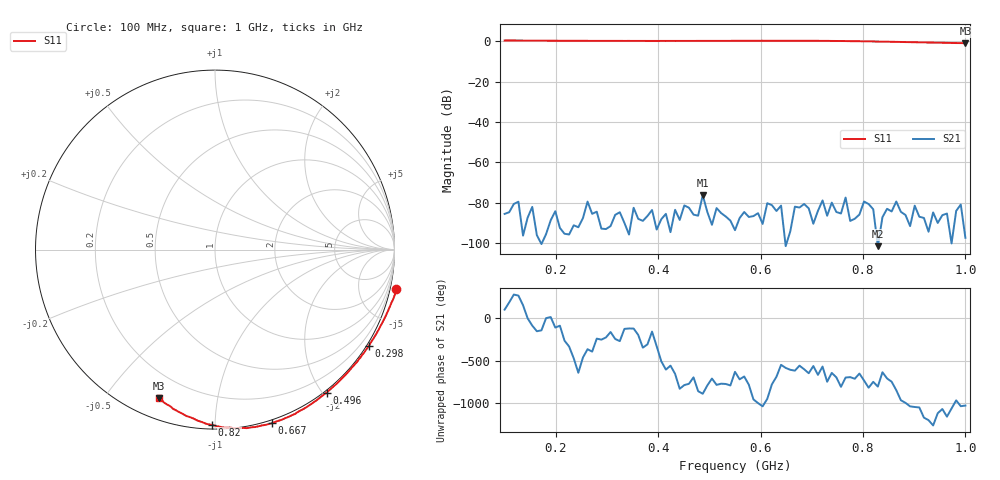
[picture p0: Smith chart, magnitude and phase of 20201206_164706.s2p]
# HZ S RI R 50
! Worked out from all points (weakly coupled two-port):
!   101 points, 100 MHz to 1 GHz, reference 50 ohm
!   highest |S21| = -76.18 dB at 487 MHz (marker M1); lowest = -101.4 dB at 829 MHz (marker M2)
!   lowest |S11| = -1.1 dB at 1 GHz (marker M3), VSWR 16.22, Z = 4.55 - j34.4 ohm
!   |S11| at or under -10 dB: nowhere
!   S12 and S22 are empty: the file has one direction only
!   S11 on the Smith chart (normalised r, x): 100 MHz: -1.34, -9.11; 298 MHz: -0.07, -3.48; 496 MHz: -0.03, -2.05; 667 MHz: -0.03, -1.38; 820 MHz: 0.02, -0.98; 1 GHz: 0.09, -0.69
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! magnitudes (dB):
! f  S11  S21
! 100 MHz  0.3  -85.4
! 253 MHz  0.1  -87.5
! 298 MHz  0.1  -92.9
! 406 MHz  0.1  -88.1
! 478 MHz  0.1  -86.3
! 487 MHz  0.1  -76.2
! 496 MHz  0.1  -84.6
! 550 MHz  0.1  -93.5
! 667 MHz  0.2  -81.9
! 703 MHz  0.1  -90.3
! 721 MHz  0.1  -78.8
! 730 MHz  0.1  -86.4
! 757 MHz  0.0  -85.3
! 766 MHz  0.0  -77.4
! 775 MHz  0.0  -88.9
! 802 MHz  -0.1  -79.3
! 820 MHz  -0.2  -83.2
! 829 MHz  -0.2  -101.4
! 856 MHz  -0.4  -84.2
! 865 MHz  -0.4  -79.3
! 874 MHz  -0.5  -84.4
! 1 GHz  -1.1  -97.3
